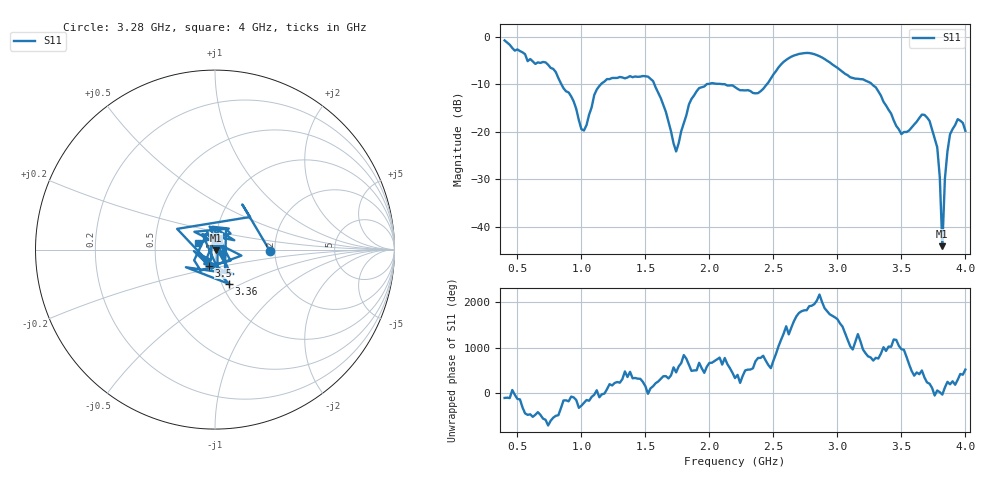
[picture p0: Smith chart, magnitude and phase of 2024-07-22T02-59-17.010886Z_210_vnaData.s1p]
!Created with skrf (http://scikit-rf.org).
# Hz S RI R 50.0
!freq ReS11 ImS11
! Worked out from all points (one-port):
!   181 points, 400 MHz to 4 GHz, reference 50 ohm
!   lowest |S11| = -44.1 dB at 3.82 GHz (marker M1), VSWR 1.01, Z = 50.5 - j0.346 ohm
!   |S11| at or under -10 dB: 1.57 GHz to 1.977 GHz (407.1 MHz wide, 23 % of centre); 2.122 GHz to 2.448 GHz (326.3 MHz wide, 14.3 % of centre); 3.271 GHz to end of sweep (the widest 3 of 4)
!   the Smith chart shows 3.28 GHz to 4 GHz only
!   S11 on the Smith chart (normalised r, x): 3.28 GHz: 1.89, -0.04; 3.36 GHz: 1.08, -0.43; 3.5 GHz: 0.92, -0.17; 4 GHz: 0.82, +0.06
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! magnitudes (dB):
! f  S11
! 400 MHz  -0.8
! 720 MHz  -5.4
! 860 MHz  -10.8
! 1.02 GHz  -19.7
! 1.12 GHz  -11.1
! 1.3 GHz  -8.4
! 1.56 GHz  -9.3
! 1.74 GHz  -24.1
! 1.76 GHz  -22.4
! 1.84 GHz  -14.2
! 1.92 GHz  -10.8
! 2.2 GHz  -10.6
! 2.38 GHz  -11.9
! 2.66 GHz  -3.9
! 2.84 GHz  -3.9
! 3.1 GHz  -8.5
! 3.28 GHz  -10.2
! 3.36 GHz  -13.7
! 3.5 GHz  -20.5
! 3.56 GHz  -19.7
! 3.68 GHz  -16.4
! 3.78 GHz  -23.2
! 3.8 GHz  -29.6
! 3.82 GHz  -44.1
! 3.84 GHz  -29.8
! 3.88 GHz  -20.5
! 3.94 GHz  -17.3
! 4 GHz  -19.8
